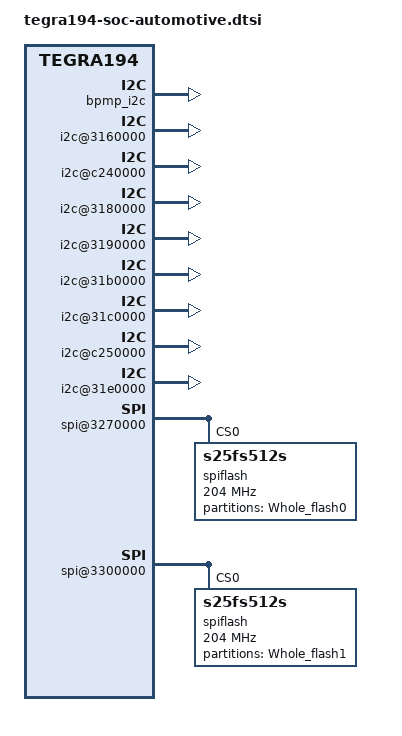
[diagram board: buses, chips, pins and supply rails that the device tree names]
/*
 * tegra194-soc-automotive.dtsi: Automotive based platform common SoC specific
 *				 DTSI file with required node enabled.
 *
 * Copyright (c) 2017, NVIDIA CORPORATION.  All rights reserved.
 *
 * This program is free software; you can redistribute it and/or modify
 * it under the terms of the GNU General Public License as published by
 * the Free Software Foundation; version 2 of the License.
 *
 * This program is distributed in the hope that it will be useful, but WITHOUT
 * ANY WARRANTY; without even the implied warranty of MERCHANTABILITY or
 * FITNESS FOR A PARTICULAR PURPOSE.  See the GNU General Public License for
 * more details.
 */

#include <tegra194-soc/tegra194-soc-base.dtsi>
#include <tegra194-soc/tegra194-cpus.dtsi>
#include <tegra194-soc/mods-simple-bus.dtsi>
#include <tegra194-soc/tegra194-soc-prod.dtsi>

/ {

	timer {
		status = "okay";
	};

	interrupt-controller@3881000 {
		status = "okay";
	};


	clock@0 {
	        status = "okay";
	};

	bpmp_reset@0 {
	        status = "okay";
	};

	bpmp {
	        status = "okay";
	};

	pinmux@2430000 {
		status = "okay";
	};

	/* Tegra main GPIO */
	gpio@2200000 {
		status = "okay";
	};

	/* Tegra AON GPIO */
	gpio@c2f0000 {
		status = "okay";
	};

	/* BPMP I2c for PMIC acess */
	bpmp_i2c {
		status = "okay";
	};

	efuse@3820000 {
		status = "okay";
		efuse-burn {
			status = "okay";
		};
	};

	kfuse@3830000 {
		status = "okay";
	};

	/* Wake irq support */
	tegra194-pm-irq {
		status = "okay";
	};

	i2c@3160000 { /* GEN1_I2C */
		status = "okay";
	};

	i2c@c240000 { /* GEN2_I2C */
		status = "okay";
	};

	i2c@3180000 { /* CAM_I2C */
		status = "okay";
	};

	i2c@3190000 { /* DP_AUX_CH1_I2C */
		status = "okay";
	};

	i2c@31b0000 { /* DP_AUX_CH0_I2C */
		status = "okay";
	};

	i2c@31c0000 { /* DP_AUX_CH2_I2C */
		status = "okay";
	};

	i2c@c250000 { /* GEN8_I2C */
		status = "okay";
	};

	i2c@31e0000 { /* DP_AUX_CH3_I2C */
		status = "okay";
	};

	spi@3270000 { /* QSPI0 */
		status = "okay";
		spiflash@0 {
			#address-cells = <1>;
			#size-cells = <1>;
			compatible = "s25fs512s";
			reg = <0>;
			spi-max-frequency = <204000000>;
			partition@0 {
				label = "Whole_flash0";
				reg = <0x00000000 0x4000000>;
			};
			controller-data {
				nvidia,x1-len-limit = <16>;
				nvidia,x1-bus-speed = <204000000>; /* In MHz */
				nvidia,x1-dymmy-cycle = <8>;
				nvidia,x4-bus-speed = <204000000>;
				nvidia,x4-dymmy-cycle = <8>;
				nvidia,ifddr-div2-sdr = <1>;
				nvidia,x4-is-ddr=<1>;
			};
		};
	};

	spi@3300000 { /* QSPI1 */
		status = "okay";
		spiflash@0 {
			#address-cells = <1>;
			#size-cells = <1>;
			compatible = "s25fs512s";
			reg = <0>;
			spi-max-frequency = <204000000>;
			partition@0 {
				label = "Whole_flash1";
				reg = <0x00000000 0x4000000>;
			};
			controller-data {
				nvidia,x1-len-limit = <16>;
				nvidia,x1-bus-speed = <204000000>; /* In MHz */
				nvidia,x1-dymmy-cycle = <8>;
				nvidia,x4-bus-speed = <204000000>;
				nvidia,x4-dymmy-cycle = <8>;
				nvidia,ifddr-div2-sdr = <1>;
				nvidia,x4-is-ddr=<1>;
			};
		};
	};

	/* SDMMC4 */
	sdhci@3460000 {
		nvidia,disable-rtpm;
	};

	/* SDMMC3 */
	sdhci@3440000 {
		nvidia,disable-rtpm;
	};

	/* SDMMC1 */
	sdhci@3400000 {
		nvidia,disable-rtpm;
	};

	/* L3 cache */
	tegra-cache {
		status = "okay";
	};
};
